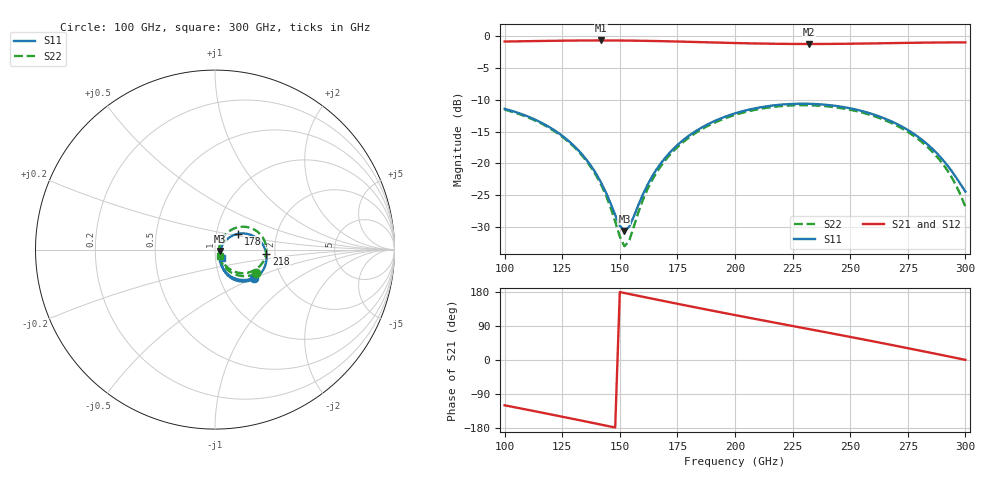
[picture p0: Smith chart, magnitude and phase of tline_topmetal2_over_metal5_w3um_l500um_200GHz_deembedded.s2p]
! Created with skrf 2.0.1 (http://scikit-rf.org).
# GHz S DB R 50.0
!freq dBS11 angS11 dBS21 angS21 dBS12 angS12 dBS22 angS22
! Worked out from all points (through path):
!   101 points, 100 GHz to 300 GHz, reference 50 ohm
!   highest |S21| = -0.72 dB at 142 GHz (marker M1); lowest = -1.3 dB at 232 GHz (marker M2)
!   group delay of S21, straight-line fit = 3.32 ps
!   lowest |S11| = -30.6 dB at 152 GHz (marker M3), VSWR 1.06, Z = 52.9 - j0.844 ohm
!   |S11| at or under -10 dB: start of sweep to end of sweep
!   |S22| runs from -33.0 to -10.9 dB; largest |S21 - S12| = 1.1e-14
!   S11 on the Smith chart (normalised r, x): 100 GHz: 1.45, -0.49; 178 GHz: 1.27, +0.23; 218 GHz: 1.80, -0.09; 300 GHz: 1.07, -0.10
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100  -11.44 -36.0  -0.89 -119.5  -0.89 -119.5  -11.57 -29.7
120  -14.44 -56.4  -0.78 -143.5  -0.78 -143.5  -14.58 -49.4
134  -18.74 -67.2  -0.73 -160.8  -0.73 -160.8  -18.92 -60.6
142  -23.09 -66.7  -0.72 -170.7  -0.72 -170.7  -23.42 -61.7
146  -26.25 -59.1  -0.73 -175.7  -0.73 -175.7  -26.91 -56.0
150  -29.76 -36.0  -0.74 179.3  -0.74 179.3  -31.48 -33.4
152  -30.59 -15.6  -0.74 176.8  -0.74 176.8  -32.98 -8.3
154  -29.98 5.3  -0.75 174.3  -0.75 174.3  -32.22 19.4
162  -23.37 38.5  -0.79 164.4  -0.79 164.4  -24.05 55.2
168  -19.90 40.3  -0.83 157.0  -0.83 157.0  -20.32 55.9
178  -16.21 34.5  -0.92 144.7  -0.92 144.7  -16.51 49.5
188  -13.90 25.6  -1.02 132.7  -1.02 132.7  -14.16 40.5
200  -12.16 13.7  -1.13 118.6  -1.13 118.6  -12.40 28.8
218  -10.86 -4.8  -1.25 97.7  -1.25 97.7  -11.08 10.8
232  -10.66 -19.2  -1.28 81.7  -1.28 81.7  -10.88 -3.3
234  -10.68 -21.2  -1.28 79.4  -1.28 79.4  -10.90 -5.3
250  -11.36 -37.4  -1.24 60.9  -1.24 60.9  -11.59 -21.5
268  -13.43 -54.6  -1.14 39.6  -1.14 39.6  -13.69 -39.4
278  -15.46 -62.5  -1.09 27.5  -1.09 27.5  -15.79 -48.7
288  -18.56 -66.8  -1.05 15.3  -1.05 15.3  -19.10 -56.1
294  -21.19 -64.5  -1.04 7.8  -1.04 7.8  -22.16 -57.6
300  -24.42 -52.4  -1.03 0.4  -1.03 0.4  -26.82 -50.9
